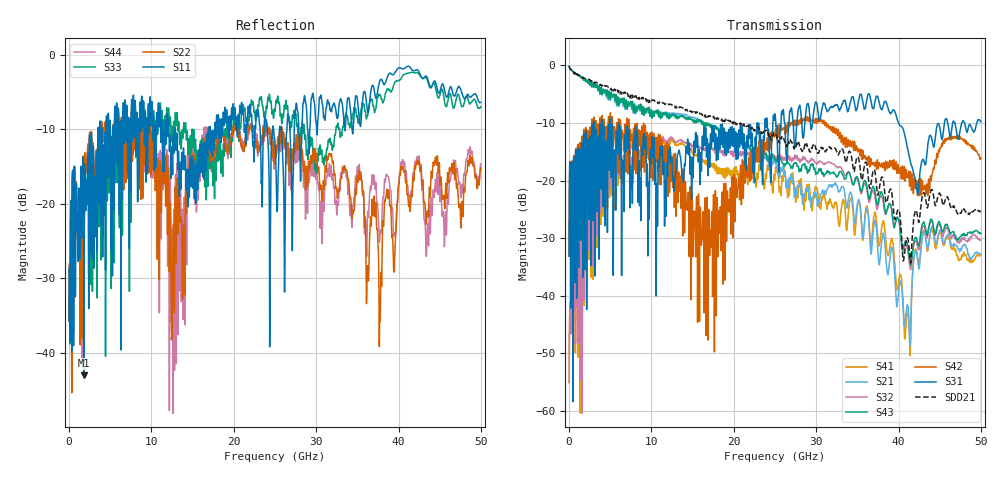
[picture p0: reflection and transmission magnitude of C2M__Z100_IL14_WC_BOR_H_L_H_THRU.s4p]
# GHz S MA R 50
! S-Parameters data
! Freq  magS11  angS11  magS12  angS12  magS13  angS13  magS14  angS14
!  magS21  angS21  magS22  angS22  magS23  angS23  magS24  angS24
!  magS31  angS31  magS32  angS32  magS33  angS33  magS34  angS34
!  magS41  angS41  magS42  angS42  magS43  angS43  magS44  angS44
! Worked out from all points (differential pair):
!   5000 points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, 10 MHz to 50 GHz, reference 50 ohm
!   strongest paths, dB at 10 MHz, 12.51 GHz, 25.01 GHz, 37.51 GHz, 50 GHz:
!     S31: -33.1, -17.1, -8.4, -5.6, -9.8
!     S42: -33.1, -16.5, -11.6, -17.6, -16.1
!     S43: -0.1, -8.7, -16.3, -23.9, -29.2
!     S32: -55.1, -12.6, -16.1, -24.4, -30.3
!     S21: -0.1, -8.4, -16.6, -32.7, -32.8
!     S41: -55.1, -12.9, -19.0, -30.3, -32.9
!   taken as a pair (ports 3,1 in; 4,2 out), SDD21 dB: -0.1, -6.9, -11.8, -22.5, -25.4
!   lowest |S11| = -43.0 dB at 1.83 GHz (marker M1), VSWR 1.01, Z = 50.4 - j0.585 ohm
!   |S11| at or under -10 dB: start of sweep to 3.523 GHz; 12.12 GHz to 12.86 GHz (734.9 MHz wide, 5.88 % of centre); 12.91 GHz to 16.89 GHz (3.985 GHz wide, 26.7 % of centre)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
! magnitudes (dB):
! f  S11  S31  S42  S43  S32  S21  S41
! 10 MHz  -35.7  -33.1  -33.1  -0.1  -55.1  -0.1  -55.1
! 1.83 GHz  -43.0  -12.9  -12.1  -2.4  -37.3  -2.4  -37.7
! 9.82 GHz  -5.7  -16.1  -12.5  -8.5  -15.0  -8.7  -16.7
! 12.53 GHz  -14.1  -18.0  -17.5  -8.7  -12.6  -8.3  -12.8
! 20.14 GHz  -7.1  -14.2  -27.1  -12.9  -15.7  -13.0  -19.4
! 41.28 GHz  -1.6  -15.6  -19.2  -33.0  -34.0  -44.7  -45.1
! 50 GHz  -6.4  -9.8  -16.1  -29.2  -30.3  -32.8  -32.9
